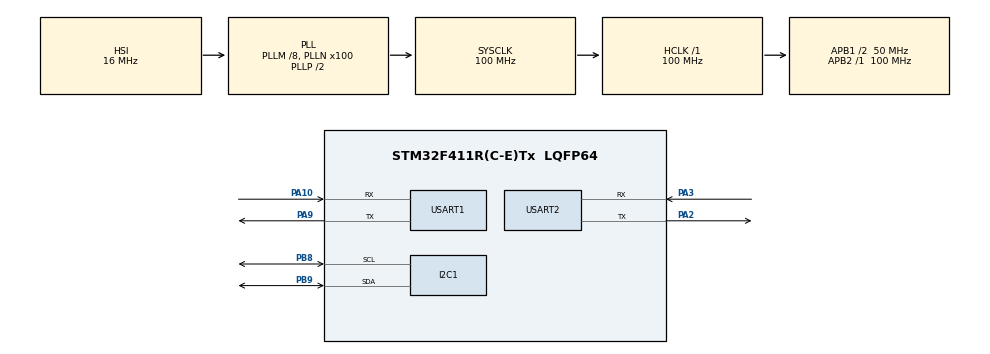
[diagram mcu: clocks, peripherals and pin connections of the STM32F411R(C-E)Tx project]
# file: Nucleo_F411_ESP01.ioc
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Mcu.Family=STM32F4
Mcu.Name=STM32F411R(C-E)Tx
Mcu.Package=LQFP64
NVIC.PriorityGroup=NVIC_PRIORITYGROUP_4
NVIC.USART1_IRQn=true\:0\:0\:false\:false\:true\:true\:true
PA10.Mode=Asynchronous
PA10.Signal=USART1_RX
PA13.Mode=Trace_Asynchronous_SW
PA13.Signal=SYS_JTMS-SWDIO
PA14.Mode=Trace_Asynchronous_SW
PA14.Signal=SYS_JTCK-SWCLK
PA2.Mode=Asynchronous
PA2.Signal=USART2_TX
PA3.Mode=Asynchronous
PA3.Signal=USART2_RX
PA9.Mode=Asynchronous
PA9.Signal=USART1_TX
PB3.Mode=Trace_Asynchronous_SW
PB3.Signal=SYS_JTDO-SWO
PB8.Mode=I2C
PB8.Signal=I2C1_SCL
PB9.Mode=I2C
PB9.Signal=I2C1_SDA
PC14-OSC32_IN.Mode=LSE-External-Oscillator
PC14-OSC32_IN.Signal=RCC_OSC32_IN
PC15-OSC32_OUT.Mode=LSE-External-Oscillator
PC15-OSC32_OUT.Signal=RCC_OSC32_OUT
PH0\ -\ OSC_IN.Mode=HSE-External-Clock-Source
PH0\ -\ OSC_IN.Signal=RCC_OSC_IN
PH1\ -\ OSC_OUT.Mode=HSE-External-Clock-Source
PH1\ -\ OSC_OUT.Signal=RCC_OSC_OUT
ProjectManager.HeapSize=0x200
ProjectManager.StackSize=0x400
ProjectManager.TargetToolchain=STM32CubeIDE
RCC.48MHZClocksFreq_Value=50000000
RCC.AHBFreq_Value=100000000
RCC.APB1CLKDivider=RCC_HCLK_DIV2
RCC.APB1Freq_Value=50000000
RCC.APB1TimFreq_Value=100000000
RCC.APB2Freq_Value=100000000
RCC.APB2TimFreq_Value=100000000
RCC.CortexFreq_Value=100000000
RCC.HCLKFreq_Value=100000000
RCC.HSE_VALUE=25000000
RCC.HSI_VALUE=16000000
RCC.PLLM=8
RCC.PLLN=100
RCC.SYSCLKFreq_VALUE=100000000
RCC.SYSCLKSource=RCC_SYSCLKSOURCE_PLLCLK
RCC.VCOOutputFreq_Value=200000000
USART1.VirtualMode=VM_ASYNC
USART2.VirtualMode=VM_ASYNC
board=custom

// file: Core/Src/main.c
/* USER CODE BEGIN Header */
/**
  ******************************************************************************
  * @file           : main.c
  * @brief          : Main program body
  ******************************************************************************
  * @attention
  *
  * Copyright (c) 2022 STMicroelectronics.
  * All rights reserved.
  *
  * This software is licensed under terms that can be found in the LICENSE file
  * in the root directory of this software component.
  * If no LICENSE file comes with this software, it is provided AS-IS.
  *
  ******************************************************************************
  */
/* USER CODE END Header */
#include "main.h"

/* USER CODE BEGIN Includes */
<<<<<<< HEAD

/* USER CODE END Includes */

I2C_HandleTypeDef hi2c1;

UART_HandleTypeDef huart1;
UART_HandleTypeDef huart2;

void SystemClock_Config(void);
static void MX_GPIO_Init(void);
static void MX_I2C1_Init(void);
static void MX_USART1_UART_Init(void);
static void MX_USART2_UART_Init(void);

int main(void)
{

  /* MCU Configuration--------------------------------------------------------*/

  /* Reset of all peripherals, Initializes the Flash interface and the Systick. */
  HAL_Init();

  /* Configure the system clock */
  SystemClock_Config();

  /* Initialize all configured peripherals */
  MX_GPIO_Init();
  MX_I2C1_Init();
  MX_USART1_UART_Init();
  MX_USART2_UART_Init();

  /* Infinite loop */
  while (1)
  {

    /* USER CODE BEGIN 3 */
#include <stdio.h>
#include <stdlib.h>
#include <string.h>
//#include "tsl2561.h"
#include "BME280_STM32.h"

#include "ESPDataLogger.h"

/* USER CODE END Includes */

/* Private typedef -----------------------------------------------------------*/
/* USER CODE BEGIN PTD */

/* USER CODE END PTD */

/* Private define ------------------------------------------------------------*/
/* USER CODE BEGIN PD */
/* USER CODE END PD */

/* Private macro -------------------------------------------------------------*/
/* USER CODE BEGIN PM */

/* USER CODE END PM */

/* Private variables ---------------------------------------------------------*/
I2C_HandleTypeDef hi2c1;

UART_HandleTypeDef huart1;
UART_HandleTypeDef huart2;

/* USER CODE BEGIN PV */

/* USER CODE END PV */

/* Private function prototypes -----------------------------------------------*/
void SystemClock_Config(void);
static void MX_GPIO_Init(void);
static void MX_I2C1_Init(void);
static void MX_USART1_UART_Init(void);
static void MX_USART2_UART_Init(void);
/* USER CODE BEGIN PFP */

/* USER CODE END PFP */

/* Private user code ---------------------------------------------------------*/
/* USER CODE BEGIN 0 */
float Temperature, Pressure, Humidity;

/* USER CODE END 0 */

/**
  * @brief  The application entry point.
  * @retval int
  */
int main(void)
{
  /* USER CODE BEGIN 1 */

  /* USER CODE END 1 */

  /* MCU Configuration--------------------------------------------------------*/

  /* Reset of all peripherals, Initializes the Flash interface and the Systick. */
  HAL_Init();

  /* USER CODE BEGIN Init */

  /* USER CODE END Init */

  /* Configure the system clock */
  SystemClock_Config();

  /* USER CODE BEGIN SysInit */

  /* USER CODE END SysInit */

  /* Initialize all configured peripherals */
  MX_GPIO_Init();
  MX_I2C1_Init();
  MX_USART1_UART_Init();
  MX_USART2_UART_Init();
  /* USER CODE BEGIN 2 */

  BME280_Config(OSRS_2, OSRS_16, OSRS_1, MODE_NORMAL, T_SB_0p5, IIR_16);

  char buffer[256];
  sprintf(buffer, "Start\n");
  HAL_UART_Transmit(&huart2, (uint8_t*)buffer, strlen(buffer), HAL_MAX_DELAY);
  HAL_Delay(1000);

//  uint16_t broadband, ir;
//  uint32_t lux;

  // Initialise luminosity sensor
//  TSL2561_Init(&hi2c1);
//  uint16_t Value_Buf [4];
  float Value_Buf [4];

  ESP_Init("OnePlus_8T", "E12345678_1");
//  ESP_Init("molson", "E123456m");
  /* USER CODE END 2 */

  /* Infinite loop */
  /* USER CODE BEGIN WHILE */
  while (1)
  {
    /* USER CODE END WHILE */

    /* USER CODE BEGIN 3 */
//	  TSL2561_SetTiming(&hi2c1, TSL2561_INTEGRATIONTIME_101MS, TSL2561_GAIN_0X);

//	  // Check luminosity level and calculate lux
//	  TSL2561_GetLuminosity(&hi2c1, &broadband, &ir);
//	  lux = TSL2561_CalculateLux(broadband, ir);
//
//	  int sz=sprintf(buffer, "broadband %u IR %u LUX %lu\r\n", broadband, ir, lux);
//	  HAL_UART_Transmit(&huart2, (uint8_t*)buffer, sz, HAL_MAX_DELAY);
	  BME280_Measure();
//Temperature, Pressure, Humidity
	  Value_Buf[0] = Temperature;
	  Value_Buf[1] = Pressure;
	  Value_Buf[2] = Humidity;

	  //Validate connection state
	  if (!(ESP_Check_Connection()))
		  ESP_Init("OnePlus_8T", "E12345678_1");
	  ESP_Send_Multi_Float ("7QR1WMIRHFUXG9NL", 3, Value_Buf);
	  //ESP_Send_Multi("7QR1WMIRHFUXG9NL", 3, Value_Buf);

	  HAL_Delay(15000); // must be at least 15 sec delay between 2 send
  }
  /* USER CODE END 3 */
}

void SystemClock_Config(void)
{
  RCC_OscInitTypeDef RCC_OscInitStruct = {0};
  RCC_ClkInitTypeDef RCC_ClkInitStruct = {0};

  /** Configure the main internal regulator output voltage
  */
  __HAL_RCC_PWR_CLK_ENABLE();
  __HAL_PWR_VOLTAGESCALING_CONFIG(PWR_REGULATOR_VOLTAGE_SCALE1);
  /** Initializes the RCC Oscillators according to the specified parameters
  * in the RCC_OscInitTypeDef structure.
  */
  RCC_OscInitStruct.OscillatorType = RCC_OSCILLATORTYPE_HSI;
  RCC_OscInitStruct.HSIState = RCC_HSI_ON;
  RCC_OscInitStruct.HSICalibrationValue = RCC_HSICALIBRATION_DEFAULT;
  RCC_OscInitStruct.PLL.PLLState = RCC_PLL_ON;
  RCC_OscInitStruct.PLL.PLLSource = RCC_PLLSOURCE_HSI;
  RCC_OscInitStruct.PLL.PLLM = 8;
  RCC_OscInitStruct.PLL.PLLN = 100;
  RCC_OscInitStruct.PLL.PLLP = RCC_PLLP_DIV2;
  RCC_OscInitStruct.PLL.PLLQ = 4;
  if (HAL_RCC_OscConfig(&RCC_OscInitStruct) != HAL_OK)
  {
    Error_Handler();
  }
  /** Initializes the CPU, AHB and APB buses clocks
  */
  RCC_ClkInitStruct.ClockType = RCC_CLOCKTYPE_HCLK|RCC_CLOCKTYPE_SYSCLK
                              |RCC_CLOCKTYPE_PCLK1|RCC_CLOCKTYPE_PCLK2;
  RCC_ClkInitStruct.SYSCLKSource = RCC_SYSCLKSOURCE_PLLCLK;
  RCC_ClkInitStruct.AHBCLKDivider = RCC_SYSCLK_DIV1;
  RCC_ClkInitStruct.APB1CLKDivider = RCC_HCLK_DIV2;
  RCC_ClkInitStruct.APB2CLKDivider = RCC_HCLK_DIV1;

  if (HAL_RCC_ClockConfig(&RCC_ClkInitStruct, FLASH_LATENCY_3) != HAL_OK)
  {
    Error_Handler();
  }
}

static void MX_I2C1_Init(void)
{

  hi2c1.Instance = I2C1;
  hi2c1.Init.ClockSpeed = 100000;
  hi2c1.Init.DutyCycle = I2C_DUTYCYCLE_2;
  hi2c1.Init.OwnAddress1 = 0;
  hi2c1.Init.AddressingMode = I2C_ADDRESSINGMODE_7BIT;
  hi2c1.Init.DualAddressMode = I2C_DUALADDRESS_DISABLE;
  hi2c1.Init.OwnAddress2 = 0;
  hi2c1.Init.GeneralCallMode = I2C_GENERALCALL_DISABLE;
  hi2c1.Init.NoStretchMode = I2C_NOSTRETCH_DISABLE;
  if (HAL_I2C_Init(&hi2c1) != HAL_OK)
  {
    Error_Handler();
  }

}

static void MX_USART1_UART_Init(void)
{

  huart1.Instance = USART1;
  huart1.Init.BaudRate = 115200;
  huart1.Init.WordLength = UART_WORDLENGTH_8B;
  huart1.Init.StopBits = UART_STOPBITS_1;
  huart1.Init.Parity = UART_PARITY_NONE;
  huart1.Init.Mode = UART_MODE_TX_RX;
  huart1.Init.HwFlowCtl = UART_HWCONTROL_NONE;
  huart1.Init.OverSampling = UART_OVERSAMPLING_16;
  if (HAL_UART_Init(&huart1) != HAL_OK)
  {
    Error_Handler();
  }

}

static void MX_USART2_UART_Init(void)
{

  huart2.Instance = USART2;
  huart2.Init.BaudRate = 115200;
  huart2.Init.WordLength = UART_WORDLENGTH_8B;
  huart2.Init.StopBits = UART_STOPBITS_1;
  huart2.Init.Parity = UART_PARITY_NONE;
  huart2.Init.Mode = UART_MODE_TX_RX;
  huart2.Init.HwFlowCtl = UART_HWCONTROL_NONE;
  huart2.Init.OverSampling = UART_OVERSAMPLING_16;
  if (HAL_UART_Init(&huart2) != HAL_OK)
  {
    Error_Handler();
  }

}

static void MX_GPIO_Init(void)
{

  /* GPIO Ports Clock Enable */
  __HAL_RCC_GPIOC_CLK_ENABLE();
  __HAL_RCC_GPIOH_CLK_ENABLE();
  __HAL_RCC_GPIOA_CLK_ENABLE();
  __HAL_RCC_GPIOB_CLK_ENABLE();

}

void Error_Handler(void)
{
  __disable_irq();
  while (1)
  {
  }
}
